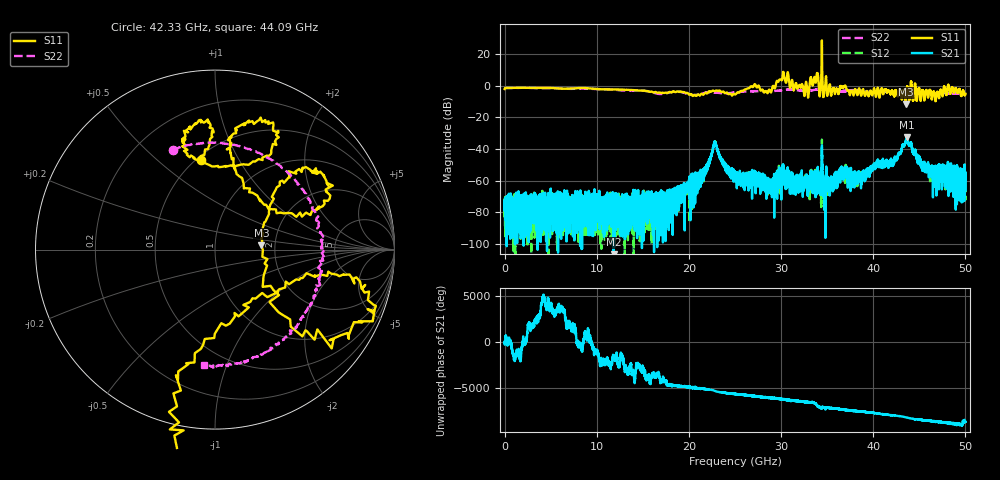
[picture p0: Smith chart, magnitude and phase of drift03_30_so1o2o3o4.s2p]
!Created with skrf (http://scikit-rf.org).
# Hz S RI R 50.0
!freq ReS11 ImS11 ReS21 ImS21 ReS12 ImS12 ReS22 ImS22
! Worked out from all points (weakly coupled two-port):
!   10000 points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, 5.3 MHz to 50 GHz, reference 50 ohm
!   highest |S21| = -32.71 dB at 43.64 GHz (marker M1); lowest = -112.8 dB at 11.83 GHz (marker M2)
!   lowest |S11| = -11.7 dB at 43.52 GHz (marker M3), VSWR 1.70, Z = 84.8 + j4.49 ohm
!   |S11| at or under -10 dB: 43.48828 GHz to 43.55631 GHz (68.03 MHz wide, 0.156 % of centre)
!   |S22| runs from -5.9 to -1.3 dB; largest |S21 - S12| = 0.0074
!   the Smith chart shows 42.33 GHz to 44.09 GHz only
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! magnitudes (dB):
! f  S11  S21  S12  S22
! 5.3 MHz  -2.1  -74.8  -83.1  -2.1
! 8.34 GHz  -1.5  -76.2  -78.6  -1.9
! 11.83 GHz  -2.3  -112.8  -71.1  -2.6
! 16.67 GHz  -4.4  -78.5  -74.8  -5.2
! 20.75 GHz  -6.4  -62.3  -55.4  -5.8
! 21.79 GHz  -4.4  -52.5  -52.4  -4.5
! 22.81 GHz  -3.4  -35.3  -35.4  -4.4
! 25.01 GHz  -5.5  -54.2  -59.1  -4.2
! 27.02 GHz  -0.4  -56.0  -56.6  -3.5
! 28.85 GHz  -3.8  -60.1  -61.2  -3.5
! 30.14 GHz  4.4  -52.8  -58.6  -2.8
! 32.74 GHz  2.0  -59.0  -56.2  -3.4
! 33.34 GHz  2.6  -57.2  -60.8  -2.9
! 33.82 GHz  4.0  -64.4  -63.0  -2.6
! 34.89 GHz  5.4  -52.6  -58.9  -2.4
! 36.47 GHz  -0.4  -56.6  -54.5  -3.7
! 38.12 GHz  -2.8  -60.7  -56.8  -2.8
! 41.67 GHz  -3.0  -50.2  -50.7  -3.7
! 43.52 GHz  -11.7  -35.3  -35.5  -4.2
! 43.64 GHz  -1.4  -32.7  -33.3  -4.0
! 46.64 GHz  -4.7  -53.6  -52.9  -5.3
! 50 GHz  -5.2  -57.3  -57.6  -5.0
